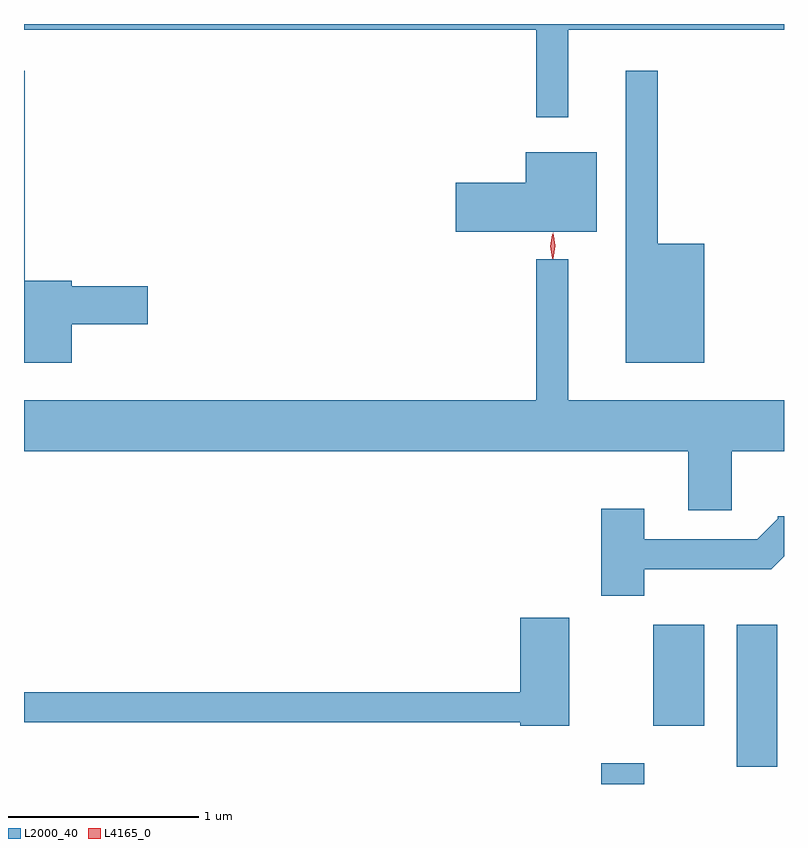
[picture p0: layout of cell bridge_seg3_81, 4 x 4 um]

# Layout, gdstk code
import gdstk
lib = gdstk.Library(unit=1e-6, precision=1e-09)
def R(c, l, rs):  # rectangles x0, y0, x1, y1
    for r in rs: c.add(gdstk.rectangle(r[:2], r[2:], *l))
def P(c, l, *ps):  # polygons
    for p in ps: c.add(gdstk.Polygon(p, *l))
L2000_40 = (2000, 40)
L4165_0 = (4165, 0)

bridge_seg3_81 = lib.new_cell('bridge_seg3_81')
R(bridge_seg3_81, L2000_40, [(1128.851,1157.565,1129.079,1157.674), (1129.566,1157.656,1129.779,1158.404), (1129.126,1157.871,1129.394,1158.404)])
P(bridge_seg3_81, L2000_40, [(1128.679,1161.536),(1129.814,1161.536),(1129.814,1161.565),(1125.814,1161.565),(1125.814,1161.536),(1128.511,1161.536),(1128.511,1161.073),(1128.679,1161.073)],
  [(1129.394,1160.409),(1129.149,1160.409),(1129.149,1161.318),(1128.981,1161.318),(1128.981,1159.781),(1129.394,1159.781)],
  [(1126.064,1159.986),(1126.464,1159.986),(1126.464,1160.184),(1126.064,1160.184),(1126.064,1160.214),(1125.819,1160.214),(1125.819,1161.318),(1125.814,1161.318),(1125.814,1159.781),(1126.064,1159.781)],
  [(1128.829,1160.889),(1128.456,1160.889),(1128.456,1160.729),(1128.086,1160.729),(1128.086,1160.471),(1128.829,1160.471)],
  [(1129.539,1159.316),(1129.814,1159.316),(1129.814,1159.584),(1128.679,1159.584),(1128.679,1160.328),(1128.511,1160.328),(1128.511,1159.584),(1125.814,1159.584),(1125.814,1159.316),(1129.311,1159.316),(1129.311,1159.006),(1129.539,1159.006)],
  [(1129.079,1158.696),(1129.747,1158.696),(1129.814,1158.763),(1129.814,1158.974),(1129.78,1158.974),(1129.78,1158.961),(1129.674,1158.854),(1129.079,1158.854),(1129.079,1159.014),(1128.851,1159.014),(1128.851,1158.556),(1129.079,1158.556)],
  [(1128.684,1158.439),(1128.426,1158.439),(1128.426,1158.049),(1125.814,1158.049),(1125.814,1157.891),(1128.426,1157.891),(1128.426,1157.871),(1128.684,1157.871)])
P(bridge_seg3_81, L4165_0, [(1128.598,1160.33),(1128.598,1160.33),(1128.589,1160.398),(1128.6,1160.466),(1128.6,1160.466),(1128.6,1160.466),(1128.609,1160.398),(1128.599,1160.33)],
  [(1128.594,1160.333),(1128.585,1160.396),(1128.594,1160.459),(1128.594,1160.46),(1128.595,1160.459),(1128.605,1160.396),(1128.596,1160.333),(1128.595,1160.333)])

lib.write_gds('bridge_seg3_81.gds')
